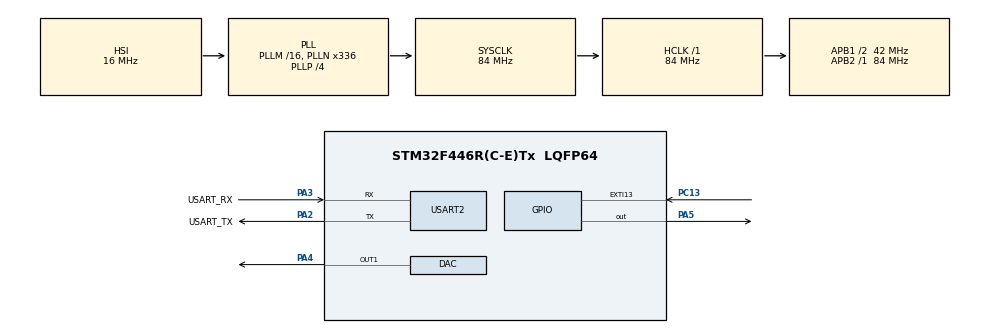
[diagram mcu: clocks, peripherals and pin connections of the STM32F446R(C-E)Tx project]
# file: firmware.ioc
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DAC.DAC_Trigger=DAC_TRIGGER_T6_TRGO
Dma.DAC1.0.Direction=DMA_MEMORY_TO_PERIPH
Dma.DAC1.0.FIFOMode=DMA_FIFOMODE_DISABLE
Dma.DAC1.0.Instance=DMA1_Stream5
Dma.DAC1.0.MemDataAlignment=DMA_MDATAALIGN_HALFWORD
Dma.DAC1.0.MemInc=DMA_MINC_ENABLE
Dma.DAC1.0.Mode=DMA_CIRCULAR
Dma.DAC1.0.PeriphDataAlignment=DMA_PDATAALIGN_HALFWORD
Dma.DAC1.0.PeriphInc=DMA_PINC_DISABLE
Dma.DAC1.0.Priority=DMA_PRIORITY_LOW
Dma.Request0=DAC1
Mcu.Family=STM32F4
Mcu.Name=STM32F446R(C-E)Tx
Mcu.Package=LQFP64
NUCLEO-F446RE.BUTTON=1
NUCLEO-F446RE.LD1=true
NVIC.DMA1_Stream5_IRQn=true\:0\:0\:false\:false\:true\:false\:true\:true
NVIC.EXTI15_10_IRQn=true\:0\:0\:false\:false\:true\:false\:true\:true
NVIC.PriorityGroup=NVIC_PRIORITYGROUP_0
PA13.GPIO_Label=TMS
PA13.Signal=SYS_JTMS-SWDIO
PA14.GPIO_Label=TCK
PA14.Signal=SYS_JTCK-SWCLK
PA2.GPIO_Label=USART_TX
PA2.Mode=Asynchronous
PA2.Signal=USART2_TX
PA3.GPIO_Label=USART_RX
PA3.Mode=Asynchronous
PA3.Signal=USART2_RX
PA4.Signal=COMP_DAC1_group
PA5.Signal=GPIO_Output
PB3.GPIO_Label=SWO
PB3.Signal=SYS_JTDO-SWO
PC13.Signal=GPXTI13
PC14-OSC32_IN.Mode=LSE-External-Oscillator
PC14-OSC32_IN.Signal=RCC_OSC32_IN
PC15-OSC32_OUT.Mode=LSE-External-Oscillator
PC15-OSC32_OUT.Signal=RCC_OSC32_OUT
PH0-OSC_IN.Signal=RCC_OSC_IN
PH1-OSC_OUT.Signal=RCC_OSC_OUT
ProjectManager.HeapSize=0x200
ProjectManager.StackSize=0x400
ProjectManager.TargetToolchain=CMake
RCC.AHBFreq_Value=84000000
RCC.APB1CLKDivider=RCC_HCLK_DIV2
RCC.APB1Freq_Value=42000000
RCC.APB1TimFreq_Value=84000000
RCC.APB2Freq_Value=84000000
RCC.APB2TimFreq_Value=84000000
RCC.CortexFreq_Value=84000000
RCC.FLatency-AdvancedSettings=FLASH_LATENCY_2
RCC.HCLKFreq_Value=84000000
RCC.HSE_VALUE=8000000
RCC.HSI_VALUE=16000000
RCC.PLLN=336
RCC.PLLP=RCC_PLLP_DIV4
RCC.SYSCLKFreq_VALUE=84000000
RCC.SYSCLKSource=RCC_SYSCLKSOURCE_PLLCLK
RCC.USBFreq_Value=168000000
RCC.VCOOutputFreq_Value=336000000
SH.COMP_DAC1_group.0=DAC_OUT1,DAC_OUT1
TIM6.Period=10499
TIM6.TIM_MasterOutputTrigger=TIM_TRGO_UPDATE
USART2.VirtualMode=VM_ASYNC
VP_NUCLEO-F446RE_VS_BSP_COMMON.Mode=COMMON
VP_TIM6_VS_ClockSourceINT.Mode=Enable_Timer
board=NUCLEO-F446RE

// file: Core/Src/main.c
/* USER CODE BEGIN Header */
/**
  ******************************************************************************
  * @file           : main.c
  * @brief          : Main program body
  ******************************************************************************
  * @attention
  *
  * Copyright (c) 2026 STMicroelectronics.
  * All rights reserved.
  *
  * This software is licensed under terms that can be found in the LICENSE file
  * in the root directory of this software component.
  * If no LICENSE file comes with this software, it is provided AS-IS.
  *
  ******************************************************************************
  */
/* USER CODE END Header */
#include "main.h"
#include "dac.h"
#include "dma.h"
#include "tim.h"
#include "usart.h"
#include "gpio.h"

/* USER CODE BEGIN Includes */
#include "player.h"

#include <string.h>

/* USER CODE END Includes */

/* USER CODE BEGIN PV */
/* M1 playback test: the USER button starts the compiled-in speech clip,
 * which repeats with a 2 s pause, and stops it again with a short fade. */
#define PLAYBACK_GAIN_Q15 6554       /* 0.20; tone test was clean up to here */
#define PAUSE_SAMPLES (2u * 8000u)   /* 2 s at 8 kHz */
#define DAC_BUFFER_SAMPLES 512       /* two halves of 32 ms each */

extern const uint8_t test_clip[];
extern const size_t test_clip_len;

static uint16_t dac_buffer[DAC_BUFFER_SAMPLES];
static player_t player;
static volatile uint8_t button_pressed;

/* USER CODE END PV */

void SystemClock_Config(void);

/* USER CODE BEGIN 0 */
static void uart_print(const char *text)
{
  HAL_UART_Transmit(&huart2, (const uint8_t *)text, (uint16_t)strlen(text), 100);
}

/* The DMA plays one half of dac_buffer while the other half is refilled. */
void HAL_DAC_ConvHalfCpltCallbackCh1(DAC_HandleTypeDef *hdac_cb)
{
  (void)hdac_cb;
  player_fill(&player, &dac_buffer[0], DAC_BUFFER_SAMPLES / 2);
}

void HAL_DAC_ConvCpltCallbackCh1(DAC_HandleTypeDef *hdac_cb)
{
  (void)hdac_cb;
  player_fill(&player, &dac_buffer[DAC_BUFFER_SAMPLES / 2], DAC_BUFFER_SAMPLES / 2);
}

/* USER CODE END 0 */

int main(void)
{

  /* MCU Configuration--------------------------------------------------------*/

  /* Reset of all peripherals, Initializes the Flash interface and the Systick. */
  HAL_Init();

  /* Configure the system clock */
  SystemClock_Config();

  /* Initialize all configured peripherals */
  MX_GPIO_Init();
  MX_DMA_Init();
  MX_DAC_Init();
  MX_TIM6_Init();
  MX_USART2_UART_Init();
  /* USER CODE BEGIN 2 */
  /* Start with the idle player: the DAC rests at mid-scale until the first
   * button press. TIM6 clocks the buffer out at 8 kHz. */
  player_fill(&player, dac_buffer, DAC_BUFFER_SAMPLES);
  if (HAL_DAC_Start_DMA(&hdac, DAC_CHANNEL_1, (uint32_t *)dac_buffer, DAC_BUFFER_SAMPLES,
                        DAC_ALIGN_12B_R) != HAL_OK)
  {
    Error_Handler();
  }
  if (HAL_TIM_Base_Start(&htim6) != HAL_OK)
  {
    Error_Handler();
  }
  uart_print("ready: press USER to play\r\n");

  /* USER CODE END 2 */

  /* Initialize leds */
  BSP_LED_Init(LED2);

  /* Initialize USER push-button, will be used to trigger an interrupt each time it's pressed.*/
  BSP_PB_Init(BUTTON_USER, BUTTON_MODE_EXTI);

  /* Infinite loop */
  while (1)
  {

    /* USER CODE BEGIN 3 */
    static uint32_t last_toggle;
    static uint32_t last_press;

    if (HAL_GetTick() - last_toggle >= 500)
    {
      last_toggle = HAL_GetTick();
      BSP_LED_Toggle(LED2);
    }

    if (button_pressed)
    {
      button_pressed = 0;
      /* Ignore contact bounce: accept at most one press every 200 ms. */
      if (HAL_GetTick() - last_press >= 200)
      {
        last_press = HAL_GetTick();
        if (player_is_idle(&player))
        {
          /* The DMA interrupt also uses the player: keep it out while the
           * player is set up (one block decode, a few tens of microseconds). */
          __disable_irq();
          player_start(&player, test_clip, test_clip_len, PLAYBACK_GAIN_Q15, PAUSE_SAMPLES);
          __enable_irq();
          uart_print(player_is_idle(&player) ? "clip invalid\r\n" : "play\r\n");
        }
        else
        {
          player_stop(&player);
          uart_print("stop\r\n");
        }
      }
    }
  }
  /* USER CODE END 3 */
}

void SystemClock_Config(void)
{
  RCC_OscInitTypeDef RCC_OscInitStruct = {0};
  RCC_ClkInitTypeDef RCC_ClkInitStruct = {0};

  /** Configure the main internal regulator output voltage
  */
  __HAL_RCC_PWR_CLK_ENABLE();
  __HAL_PWR_VOLTAGESCALING_CONFIG(PWR_REGULATOR_VOLTAGE_SCALE3);

  /** Initializes the RCC Oscillators according to the specified parameters
  * in the RCC_OscInitTypeDef structure.
  */
  RCC_OscInitStruct.OscillatorType = RCC_OSCILLATORTYPE_HSI;
  RCC_OscInitStruct.HSIState = RCC_HSI_ON;
  RCC_OscInitStruct.HSICalibrationValue = RCC_HSICALIBRATION_DEFAULT;
  RCC_OscInitStruct.PLL.PLLState = RCC_PLL_ON;
  RCC_OscInitStruct.PLL.PLLSource = RCC_PLLSOURCE_HSI;
  RCC_OscInitStruct.PLL.PLLM = 16;
  RCC_OscInitStruct.PLL.PLLN = 336;
  RCC_OscInitStruct.PLL.PLLP = RCC_PLLP_DIV4;
  RCC_OscInitStruct.PLL.PLLQ = 2;
  RCC_OscInitStruct.PLL.PLLR = 2;
  if (HAL_RCC_OscConfig(&RCC_OscInitStruct) != HAL_OK)
  {
    Error_Handler();
  }

  /** Initializes the CPU, AHB and APB buses clocks
  */
  RCC_ClkInitStruct.ClockType = RCC_CLOCKTYPE_HCLK|RCC_CLOCKTYPE_SYSCLK
                              |RCC_CLOCKTYPE_PCLK1|RCC_CLOCKTYPE_PCLK2;
  RCC_ClkInitStruct.SYSCLKSource = RCC_SYSCLKSOURCE_PLLCLK;
  RCC_ClkInitStruct.AHBCLKDivider = RCC_SYSCLK_DIV1;
  RCC_ClkInitStruct.APB1CLKDivider = RCC_HCLK_DIV2;
  RCC_ClkInitStruct.APB2CLKDivider = RCC_HCLK_DIV1;

  if (HAL_RCC_ClockConfig(&RCC_ClkInitStruct, FLASH_LATENCY_2) != HAL_OK)
  {
    Error_Handler();
  }
}

/* USER CODE BEGIN 4 */
void HAL_GPIO_EXTI_Callback(uint16_t GPIO_Pin)
{
  if (GPIO_Pin == USER_BUTTON_PIN)
  {
    button_pressed = 1;
  }
}

/* USER CODE END 4 */

void Error_Handler(void)
{
  __disable_irq();
  while (1)
  {
  }
}
